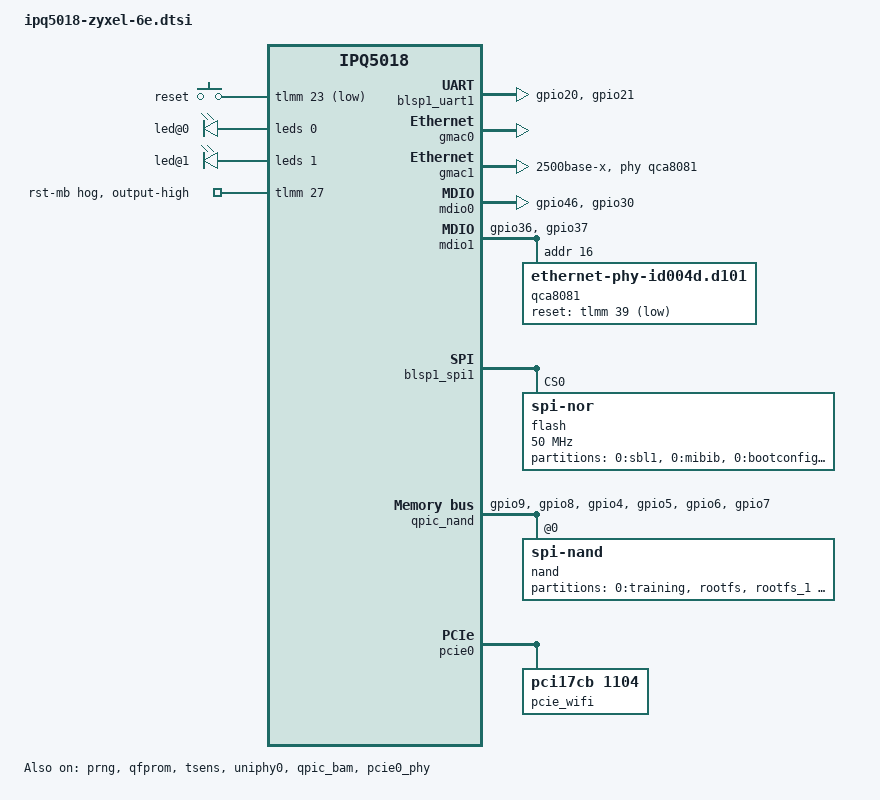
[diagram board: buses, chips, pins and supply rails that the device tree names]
// SPDX-License-Identifier: GPL-2.0-or-later OR MIT

#include "ipq5018.dtsi"
#include "ipq5018-ess.dtsi"

#include <dt-bindings/gpio/gpio.h>
#include <dt-bindings/input/input.h>
#include <dt-bindings/leds/common.h>

/ {
	aliases {
		serial0 = &blsp1_uart1;
		label-mac-device = &gmac1;
		led-boot = &led_status_blue;
		led-failsafe = &led_status_white;
		led-running = &led_status_green;
		led-upgrade = &led_status_red;
	};

	chosen {
		bootargs-append = " root=/dev/ubiblock0_1 swiotlb=1 coherent_pool=2M";
		stdout-path = "serial0:115200n8";
	};

	keys {
		compatible = "gpio-keys";
		pinctrl-0 = <&button_pins>;
		pinctrl-names = "default";

		reset {
			label = "reset";
			gpios = <&tlmm 23 GPIO_ACTIVE_LOW>;
			linux,code = <KEY_RESTART>;
		};
	};
};

&sleep_clk {
	clock-frequency = <32000>;
};

&xo_board_clk {
	clock-div = <4>;
	clock-mult = <1>;
};

&blsp1_uart1 {
	status = "okay";
	pinctrl-0 = <&serial_0_pins>;
	pinctrl-names = "default";
};

&prng {
	status = "okay";
};

&qfprom {
	status = "okay";
};

&tsens {
	status = "okay";
};

&uniphy0 {
	status = "okay";

	assigned-clocks = <&uniphy0 UNIPHY_CLK_REF>;
	assigned-clock-rates = <UNIPHY_REFCLK_50MHZ>;
};

&gmac0 {
	status = "okay";

	label = "lan1";

	nvmem-cells = <&label_mac 1>;
	nvmem-cell-names = "mac-address";
};

&gmac1 {
	status = "okay";

	phy-handle = <&qca8081>;
	phy-mode = "2500base-x";

	label = "uplink";

	nvmem-cells = <&label_mac 0>;
	nvmem-cell-names = "mac-address";
};

&mdio0 {
	status = "okay";

	/* route the internal GE PHY LED signals to the port LEDs */
	pinctrl-0 = <&ge_phy_led_pins>;
	pinctrl-names = "default";
};

&ge_phy {
	leds {
		#address-cells = <1>;
		#size-cells = <0>;

		/* 1G link/activity */
		led@0 {
			reg = <0>;
			color = <LED_COLOR_ID_GREEN>;
			function = LED_FUNCTION_LAN;
			default-state = "keep";
		};

		/* 10/100 link/activity */
		led@1 {
			reg = <1>;
			color = <LED_COLOR_ID_AMBER>;
			function = LED_FUNCTION_LAN;
			default-state = "keep";
		};
	};
};

&mdio1 {
	status = "okay";

	pinctrl-0 = <&mdio1_pins>;
	pinctrl-names = "default";

	qca8081: ethernet-phy@16 {
		compatible = "ethernet-phy-id004d.d101";
		reg = <16>;
		reset-deassert-us = <10000>;
		reset-gpios = <&tlmm 39 GPIO_ACTIVE_LOW>;

		leds {
			#address-cells = <1>;
			#size-cells = <0>;

			/* 2.5G link/activity */
			led@0 {
				reg = <0>;
				color = <LED_COLOR_ID_GREEN>;
				function = LED_FUNCTION_LAN;
				default-state = "keep";
			};

			/* 10/100/1000 link/activity */
			led@2 {
				reg = <2>;
				color = <LED_COLOR_ID_AMBER>;
				function = LED_FUNCTION_LAN;
				default-state = "keep";
			};
		};
	};
};

&blsp1_spi1 {
	status = "okay";

	flash@0 {
		reg = <0>;
		compatible = "jedec,spi-nor";
		spi-max-frequency = <50000000>;

		partitions {
			compatible = "fixed-partitions";
			#address-cells = <1>;
			#size-cells = <1>;

			partition@0 {
				label = "0:sbl1";
				reg = <0x000000 0x030000>;
				read-only;
			};

			partition@30000 {
				label = "0:mibib";
				reg = <0x030000 0x010000>;
				read-only;
			};

			partition@40000 {
				label = "0:bootconfig";
				reg = <0x040000 0x010000>;
			};

			partition@50000 {
				label = "0:bootconfig1";
				reg = <0x050000 0x010000>;
			};

			partition@60000 {
				label = "0:qsee";
				reg = <0x060000 0x0a0000>;
				read-only;
			};

			partition@100000 {
				label = "0:qsee_1";
				reg = <0x100000 0x0a0000>;
				read-only;
			};

			partition@1a0000 {
				label = "0:devcfg";
				reg = <0x1a0000 0x010000>;
				read-only;
			};

			partition@1b0000 {
				label = "0:devcfg_1";
				reg = <0x1b0000 0x010000>;
				read-only;
			};

			partition@1c0000 {
				label = "0:cdt";
				reg = <0x1c0000 0x010000>;
				read-only;
			};

			partition@1d0000 {
				label = "0:cdt_1";
				reg = <0x1d0000 0x010000>;
				read-only;
			};

			partition@1e0000 {
				label = "0:appsblenv";
				reg = <0x1e0000 0x010000>;
			};

			partition@1f0000 {
				label = "0:appsbl";
				reg = <0x1f0000 0x0a0000>;
				read-only;
			};

			partition@290000 {
				label = "0:appsbl_1";
				reg = <0x290000 0x0a0000>;
				read-only;
			};

			partition@330000 {
				label = "0:art";
				reg = <0x330000 0x070000>;
				read-only;
			};

			partition@3a0000 {
				label = "mrd";
				reg = <0x3a0000 0x010000>;
				read-only;

				nvmem-layout {
					compatible = "fixed-layout";
					#address-cells = <1>;
					#size-cells = <1>;

					label_mac: macaddr@fff8 {
						compatible = "mac-base";
						reg = <0xfff8 0x6>;
						#nvmem-cell-cells = <1>;
					};
				};
			};

			partition@3b0000 {
				label = "mrd_1";
				reg = <0x3b0000 0x010000>;
				read-only;
			};

			partition@3c0000 {
				label = "reserved";
				reg = <0x3c0000 0x440000>;
				read-only;
			};
		};
	};
};

&qpic_bam {
	status = "okay";
};

&qpic_nand {
	pinctrl-0 = <&qpic_pins>;
	pinctrl-names = "default";
	status = "okay";

	nand@0 {
		compatible = "spi-nand";
		reg = <0>;
		nand-ecc-engine = <&qpic_nand>;
		nand-bus-width = <8>;

		partitions {
			compatible = "fixed-partitions";
			#address-cells = <1>;
			#size-cells = <1>;

			partition@0 {
				label = "0:training";
				reg = <0x0000000 0x0080000>;
				read-only;
			};

			/* image0: U-Boot always passes ubi.mtd=rootfs */
			partition@80000 {
				label = "rootfs";
				reg = <0x0080000 0x3e00000>;
				linux,rootfs;
			};

			/* image1 */
			partition@3e80000 {
				label = "rootfs_1";
				reg = <0x3e80000 0x3e00000>;
			};

			partition@7c80000 {
				label = "zyxel_rootfs_data";
				reg = <0x7c80000 0x3c00000>;
				read-only;
			};

			partition@b880000 {
				label = "myzyxel";
				reg = <0xb880000 0x0f00000>;
				read-only;
			};

			partition@c780000 {
				label = "logs";
				reg = <0xc780000 0x3880000>;
			};
		};
	};
};

&tlmm {
	button_pins: button-state {
		pins = "gpio23";
		function = "gpio";
		drive-strength = <8>;
		bias-pull-up;
	};

	ge_phy_led_pins: ge-phy-led-state {
		led0-pins {
			pins = "gpio46";
			function = "led0";
			drive-strength = <8>;
			bias-pull-down;
		};

		led2-pins {
			pins = "gpio30";
			function = "led2";
			drive-strength = <8>;
			bias-pull-down;
		};
	};

	mdio1_pins: mdio-state {
		mdc-pins {
			pins = "gpio36";
			function = "mdc";
			drive-strength = <8>;
			bias-pull-up;
		};

		mdio-pins {
			pins = "gpio37";
			function = "mdio";
			drive-strength = <8>;
			bias-pull-up;
		};
	};

	qpic_pins: qpic-state {
		clock-pins {
			pins = "gpio9";
			function = "qspi_clk";
			drive-strength = <8>;
			bias-disable;
		};

		cs-pins {
			pins = "gpio8";
			function = "qspi_cs";
			drive-strength = <8>;
			bias-disable;
		};

		data-pins {
			pins = "gpio4", "gpio5", "gpio6", "gpio7";
			function = "qspi_data";
			drive-strength = <8>;
			bias-disable;
		};
	};

	serial_0_pins: uart0-state {
		pins = "gpio20", "gpio21";
		function = "blsp0_uart0";
		bias-disable;
	};

	/* MR input of the board reset supervisor, low resets the board */
	rst-mb-hog {
		gpio-hog;
		gpios = <27 GPIO_ACTIVE_HIGH>;
		output-high;
		line-name = "rst-mb";
	};
};

&pcie0_phy {
	status = "okay";
};

&pcie0 {
	status = "okay";

	perst-gpios = <&tlmm 15 GPIO_ACTIVE_LOW>;

	pcie@0 {
		pcie_wifi: wifi@0,0 {
			status = "okay";

			/* QCN9074: ath11k lacks DT compatible for PCI cards */
			compatible = "pci17cb,1104";
			reg = <0x00010000 0 0 0 0>;

			qcom,ath11k-fw-memory-mode = <0>;
		};
	};
};
